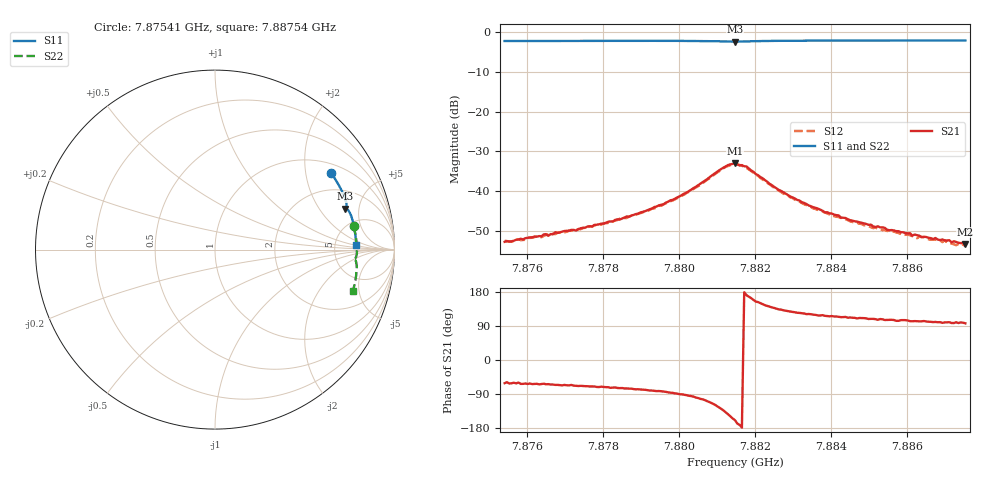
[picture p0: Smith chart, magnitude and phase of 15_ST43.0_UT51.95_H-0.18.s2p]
#  HZ  S  DB  R  50.00
! Rohde & Schwarz Vector Network Analyzer
! Rohde-Schwarz,ZNB20-2Port,1311601062101988,3.16
! Created: UTC 1/12/2023, 6:30:11 PM
! freq[Hz]  db:S11  ang:S11  db:S21  ang:S21  db:S12  ang:S12  db:S22  ang:S22
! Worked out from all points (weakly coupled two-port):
!   201 points, 7.87541 GHz to 7.88754 GHz, reference 50 ohm
!   highest |S21| = -32.90 dB at 7.88147 GHz (marker M1); lowest = -53.3 dB at 7.88754 GHz (marker M2)
!   lowest |S11| = -2.4 dB at 7.88147 GHz (marker M3), VSWR 7.39, Z = 166 + j180 ohm
!   |S11| at or under -10 dB: nowhere
!   |S22| runs from -2.2 to -1.9 dB; largest |S21 - S12| = 0.0019
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7.875408e9  -2.22 33.4  -52.73 -61.3  -52.48 -64.1  -2.13 9.6
7.87559e9  -2.22 32.9  -52.59 -61.4  -52.71 -64.8  -2.12 9.2
7.876378e9  -2.20 30.8  -51.31 -63.4  -51.55 -66.7  -2.10 7.3
7.87747e9  -2.19 27.8  -49.19 -68.7  -49.25 -72.0  -2.07 4.8
7.878623e9  -2.18 24.7  -46.33 -75.0  -46.73 -78.9  -2.05 2.1
7.879472e9  -2.17 22.3  -43.55 -81.9  -43.67 -85.9  -2.04 0.1
7.880018e9  -2.18 20.7  -41.27 -90.4  -41.53 -92.9  -2.04 -1.3
7.88117e9  -2.32 17.6  -34.06 -133.1  -34.21 -136.4  -2.18 -4.0
7.881473e9  -2.36 17.4  -32.90 -159.0  -33.24 -163.5  -2.23 -4.0
7.881777e9  -2.31 17.3  -33.77 170.9  -34.15 169.1  -2.19 -4.0
7.882626e9  -2.17 15.1  -39.67 133.6  -39.86 130.1  -2.02 -5.7
7.883536e9  -2.12 12.5  -44.02 119.7  -44.33 116.4  -1.97 -7.9
7.884263e9  -2.11 10.5  -46.66 113.0  -46.72 110.7  -1.95 -9.6
7.885113e9  -2.09 8.3  -48.84 108.5  -49.28 105.2  -1.94 -11.5
7.885537e9  -2.09 7.2  -49.81 106.2  -49.89 103.2  -1.94 -12.4
7.886265e9  -2.08 5.2  -51.05 102.2  -51.79 99.6  -1.92 -14.0
7.886447e9  -2.08 4.8  -51.45 102.9  -51.55 98.9  -1.92 -14.4
7.886932e9  -2.08 3.5  -52.13 98.1  -52.80 96.8  -1.92 -15.5
7.886993e9  -2.08 3.3  -52.34 99.2  -52.33 96.5  -1.92 -15.6
7.887296e9  -2.08 2.6  -52.76 99.7  -53.57 96.3  -1.92 -16.2
7.887417e9  -2.08 2.2  -53.04 99.2  -53.08 95.5  -1.92 -16.5
7.887539e9  -2.08 1.9  -53.29 96.7  -53.81 90.7  -1.92 -16.7
